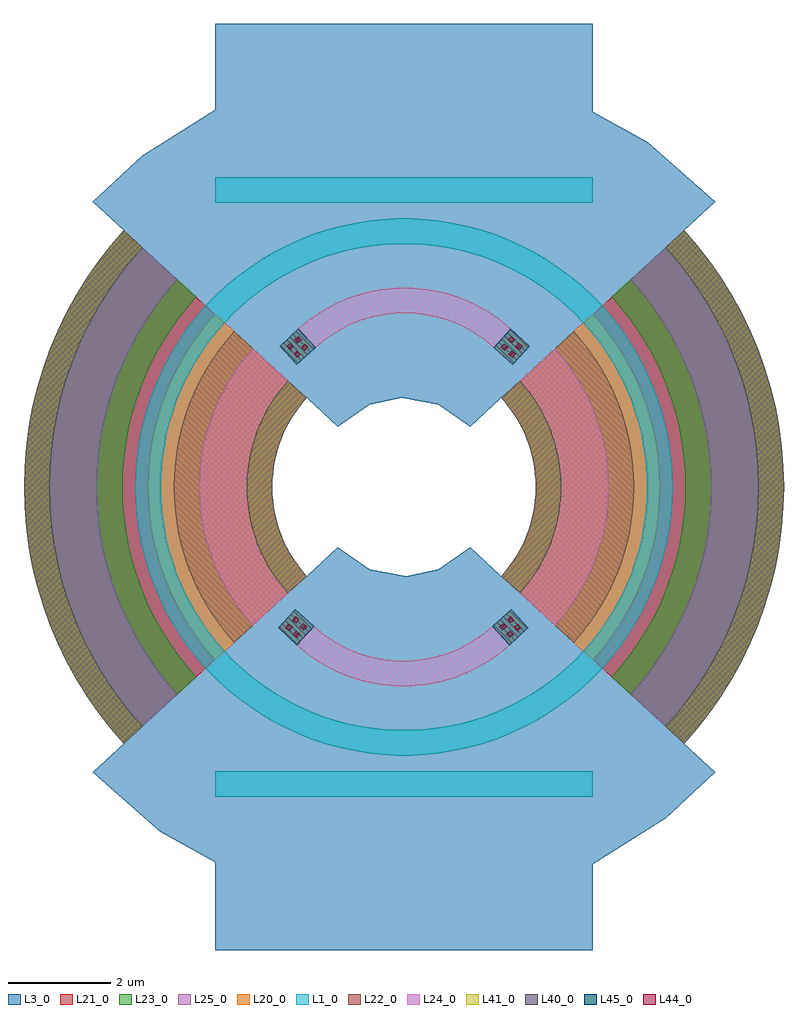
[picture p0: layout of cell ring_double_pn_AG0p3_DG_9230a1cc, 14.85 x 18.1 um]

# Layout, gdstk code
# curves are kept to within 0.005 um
import gdstk
lib = gdstk.Library(unit=1e-6, precision=1e-09)
def R(c, l, rs):  # rectangles x0, y0, x1, y1
    for r in rs: c.add(gdstk.rectangle(r[:2], r[2:], *l))
def P(c, l, *ps):  # polygons
    for p in ps: c.add(gdstk.Polygon(p, *l))
L1_0 = (1, 0)
L3_0 = (3, 0)
L20_0 = (20, 0)
L21_0 = (21, 0)
L22_0 = (22, 0)
L23_0 = (23, 0)
L24_0 = (24, 0)
L25_0 = (25, 0)
L40_0 = (40, 0)
L41_0 = (41, 0)
L44_0 = (44, 0)
L45_0 = (45, 0)

ring_double_pn_ag0p3_dg_ = lib.new_cell('ring_double_pn_AG0p3_DG_9230a1cc')
R(ring_double_pn_ag0p3_dg_, L1_0, [(-3.687,-6.05,3.686,-5.55), (-3.687,5.55,3.686,6.05)])
P(ring_double_pn_ag0p3_dg_, L1_0, [(-0.14,-5.248),(-0.421,-5.233),(-0.7,-5.203),(-0.977,-5.158),(-1.251,-5.099),(-1.522,-5.025),(-1.789,-4.936),(-2.05,-4.833),(-2.305,-4.717),(-2.554,-4.587),(-2.796,-4.444),(-3.029,-4.288),(-3.254,-4.12),(-3.47,-3.94),(-3.676,-3.749),(-3.871,-3.547),(-4.053,-3.337),(-4.224,-3.118),(-4.383,-2.89),(-4.53,-2.653),(-4.664,-2.41),(-4.785,-2.159),(-4.893,-1.903),(-4.987,-1.641),(-5.067,-1.375),(-5.133,-1.104),(-5.184,-0.831),(-5.221,-0.555),(-5.243,-0.278),(-5.25,0),(-5.243,0.278),(-5.221,0.555),(-5.184,0.831),(-5.133,1.104),(-5.067,1.375),(-4.987,1.641),(-4.893,1.903),(-4.785,2.159),(-4.664,2.41),(-4.53,2.653),(-4.383,2.89),(-4.224,3.118),(-4.053,3.337),(-3.871,3.547),(-3.676,3.749),(-3.47,3.94),(-3.254,4.12),(-3.029,4.288),(-2.796,4.444),(-2.554,4.587),(-2.237,4.748),(-0.127,4.748),(-0.381,4.735),(-0.633,4.708),(-0.884,4.667),(-1.132,4.613),(-1.377,4.546),(-1.618,4.466),(-1.855,4.373),(-2.086,4.267),(-2.311,4.15),(-2.53,4.02),(-2.741,3.879),(-2.944,3.727),(-3.139,3.565),(-3.325,3.392),(-3.502,3.209),(-3.667,3.019),(-3.822,2.821),(-3.966,2.614),(-4.099,2.401),(-4.22,2.18),(-4.33,1.954),(-4.427,1.722),(-4.512,1.485),(-4.584,1.244),(-4.644,0.999),(-4.69,0.752),(-4.723,0.502),(-4.743,0.252),(-4.75,0),(-4.743,-0.252),(-4.723,-0.502),(-4.69,-0.752),(-4.644,-0.999),(-4.584,-1.244),(-4.512,-1.485),(-4.427,-1.722),(-4.33,-1.954),(-4.22,-2.18),(-4.099,-2.401),(-3.966,-2.614),(-3.822,-2.821),(-3.667,-3.019),(-3.502,-3.209),(-3.325,-3.392),(-3.139,-3.565),(-2.944,-3.727),(-2.741,-3.879),(-2.53,-4.02),(-2.311,-4.15),(-2.086,-4.267),(-1.855,-4.373),(-1.618,-4.466),(-1.377,-4.546),(-1.132,-4.613),(-0.884,-4.667),(-0.633,-4.708),(-0.381,-4.735),(-0.127,-4.748),(0.127,-4.748),(0.381,-4.735),(0.633,-4.708),(0.884,-4.667),(1.132,-4.613),(1.377,-4.546),(1.618,-4.466),(1.855,-4.373),(2.086,-4.267),(2.311,-4.15),(2.53,-4.02),(2.741,-3.879),(2.944,-3.727),(3.139,-3.565),(3.325,-3.392),(3.502,-3.209),(3.667,-3.019),(3.822,-2.821),(3.966,-2.614),(4.099,-2.401),(4.22,-2.18),(4.33,-1.954),(4.427,-1.722),(4.512,-1.485),(4.584,-1.244),(4.644,-0.999),(4.69,-0.752),(4.723,-0.502),(4.743,-0.252),(4.75,0),(4.743,0.252),(4.723,0.502),(4.69,0.752),(4.644,0.999),(4.584,1.244),(4.512,1.485),(4.427,1.722),(4.33,1.954),(4.22,2.18),(4.099,2.401),(3.966,2.614),(3.822,2.821),(3.667,3.019),(3.502,3.209),(3.325,3.392),(3.139,3.565),(2.944,3.727),(2.741,3.879),(2.53,4.02),(2.311,4.15),(2.086,4.267),(1.855,4.373),(1.618,4.466),(1.377,4.546),(1.132,4.613),(0.884,4.667),(0.633,4.708),(0.381,4.735),(0.127,4.748),(-2.237,4.748),(-2.05,4.833),(-1.789,4.936),(-1.522,5.025),(-1.251,5.099),(-0.977,5.158),(-0.7,5.203),(-0.421,5.233),(-0.14,5.248),(0.14,5.248),(0.421,5.233),(0.7,5.203),(0.977,5.158),(1.251,5.099),(1.522,5.025),(1.789,4.936),(2.05,4.833),(2.305,4.717),(2.554,4.587),(2.796,4.444),(3.029,4.288),(3.254,4.12),(3.47,3.94),(3.676,3.749),(3.871,3.547),(4.053,3.337),(4.224,3.118),(4.383,2.89),(4.53,2.653),(4.664,2.41),(4.785,2.159),(4.893,1.903),(4.987,1.641),(5.067,1.375),(5.133,1.104),(5.184,0.831),(5.221,0.555),(5.243,0.278),(5.25,0),(5.243,-0.278),(5.221,-0.555),(5.184,-0.831),(5.133,-1.104),(5.067,-1.375),(4.987,-1.641),(4.893,-1.903),(4.785,-2.159),(4.664,-2.41),(4.53,-2.653),(4.383,-2.89),(4.224,-3.118),(4.053,-3.337),(3.871,-3.547),(3.676,-3.749),(3.47,-3.94),(3.254,-4.12),(3.029,-4.288),(2.796,-4.444),(2.554,-4.587),(2.305,-4.717),(2.05,-4.833),(1.789,-4.936),(1.522,-5.025),(1.251,-5.099),(0.977,-5.158),(0.7,-5.203),(0.421,-5.233),(0.14,-5.248)])
P(ring_double_pn_ag0p3_dg_, L3_0, [(-3.687,-9.05),(-3.687,-7.337),(-4.761,-6.739),(-6.083,-5.574),(-5.474,-5.016),(-5.733,-4.72),(-5.975,-4.41),(-6.2,-4.087),(-6.408,-3.753),(-6.597,-3.408),(-6.769,-3.054),(-6.921,-2.691),(-7.054,-2.321),(-7.167,-1.944),(-7.26,-1.562),(-7.332,-1.175),(-7.384,-0.785),(-7.415,-0.393),(-7.426,0),(-7.415,0.393),(-7.384,0.785),(-7.332,1.175),(-7.26,1.562),(-7.215,1.748),(-0.047,1.748),(-0.683,1.61),(-1.29,1.182),(-1.898,1.74),(-2.071,1.529),(-2.149,1.417),(-2.287,1.181),(-2.399,0.933),(-2.445,0.805),(-2.517,0.541),(-2.542,0.407),(-2.571,0.136),(-2.571,-0.136),(-2.56,-0.272),(-2.517,-0.541),(-2.484,-0.674),(-2.445,-0.805),(-2.346,-1.059),(-2.221,-1.301),(-2.149,-1.417),(-2.071,-1.529),(-1.898,-1.74),(-1.29,-1.182),(-0.683,-1.61),(0.047,-1.748),(0.683,-1.61),(1.29,-1.182),(1.898,-1.74),(2.071,-1.529),(2.221,-1.301),(2.346,-1.059),(2.445,-0.805),(2.517,-0.541),(2.542,-0.407),(2.571,-0.136),(2.571,0.136),(2.542,0.407),(2.517,0.541),(2.445,0.805),(2.346,1.059),(2.221,1.301),(2.149,1.417),(2.071,1.529),(1.898,1.74),(1.29,1.182),(0.683,1.61),(-0.047,1.748),(-7.215,1.748),(-7.167,1.944),(-7.054,2.321),(-6.921,2.691),(-6.769,3.054),(-6.597,3.408),(-6.408,3.753),(-6.2,4.087),(-5.975,4.41),(-5.733,4.72),(-5.474,5.016),(-6.083,5.574),(-5.115,6.475),(-3.687,7.373),(-3.687,9.05),(3.686,9.05),(3.686,7.338),(4.761,6.739),(6.083,5.574),(5.474,5.016),(5.733,4.72),(5.975,4.41),(6.2,4.087),(6.408,3.753),(6.597,3.408),(6.769,3.054),(6.921,2.691),(7.054,2.321),(7.167,1.944),(7.26,1.562),(7.332,1.175),(7.384,0.785),(7.415,0.393),(7.426,0),(7.415,-0.393),(7.384,-0.785),(7.332,-1.175),(7.26,-1.562),(7.167,-1.944),(7.054,-2.321),(6.921,-2.691),(6.769,-3.054),(6.597,-3.408),(6.408,-3.753),(6.2,-4.087),(5.975,-4.41),(5.733,-4.72),(5.474,-5.016),(6.083,-5.574),(5.115,-6.475),(3.686,-7.373),(3.686,-9.05)])
P(ring_double_pn_ag0p3_dg_, L20_0, [(-3.686,-3.378),(-3.86,-3.178),(-4.023,-2.969),(-4.175,-2.752),(-4.314,-2.527),(-4.442,-2.295),(-4.558,-2.056),(-4.66,-1.812),(-4.749,-1.563),(-4.826,-1.309),(-4.888,-1.052),(-4.937,-0.791),(-4.972,-0.529),(-4.993,-0.265),(-5,0),(-4.993,0.265),(-4.972,0.529),(-4.937,0.791),(-4.888,1.052),(-4.826,1.309),(-4.749,1.563),(-4.66,1.812),(-4.558,2.056),(-4.442,2.295),(-4.314,2.527),(-4.175,2.752),(-4.023,2.969),(-3.86,3.178),(-3.686,3.378),(-1.898,1.74),(-2.071,1.529),(-2.149,1.417),(-2.287,1.181),(-2.399,0.933),(-2.445,0.805),(-2.517,0.541),(-2.56,0.272),(-2.574,0),(-2.56,-0.272),(-2.517,-0.541),(-2.445,-0.805),(-2.399,-0.933),(-2.287,-1.181),(-2.149,-1.417),(-2.071,-1.529),(-1.898,-1.74)],
  [(3.686,-3.378),(1.898,-1.74),(2.071,-1.529),(2.149,-1.417),(2.287,-1.181),(2.399,-0.933),(2.445,-0.805),(2.517,-0.541),(2.56,-0.272),(2.574,0),(2.56,0.272),(2.517,0.541),(2.445,0.805),(2.399,0.933),(2.287,1.181),(2.149,1.417),(2.071,1.529),(1.898,1.74),(3.686,3.378),(3.86,3.178),(4.023,2.969),(4.175,2.752),(4.314,2.527),(4.442,2.295),(4.558,2.056),(4.66,1.812),(4.749,1.563),(4.826,1.309),(4.888,1.052),(4.937,0.791),(4.972,0.529),(4.993,0.265),(5,0),(4.993,-0.265),(4.972,-0.529),(4.937,-0.791),(4.888,-1.052),(4.826,-1.309),(4.749,-1.563),(4.66,-1.812),(4.558,-2.056),(4.442,-2.295),(4.314,-2.527),(4.175,-2.752),(4.023,-2.969),(3.86,-3.178)])
P(ring_double_pn_ag0p3_dg_, L21_0, [(-5.474,-5.016),(-5.733,-4.72),(-5.975,-4.41),(-6.2,-4.087),(-6.408,-3.753),(-6.597,-3.408),(-6.769,-3.054),(-6.921,-2.691),(-7.054,-2.321),(-7.167,-1.944),(-7.26,-1.562),(-7.332,-1.175),(-7.384,-0.785),(-7.415,-0.393),(-7.426,0),(-7.415,0.393),(-7.384,0.785),(-7.332,1.175),(-7.26,1.562),(-7.167,1.944),(-7.054,2.321),(-6.921,2.691),(-6.769,3.054),(-6.597,3.408),(-6.408,3.753),(-6.2,4.087),(-5.975,4.41),(-5.733,4.72),(-5.474,5.016),(-3.686,3.378),(-3.86,3.178),(-4.023,2.969),(-4.175,2.752),(-4.314,2.527),(-4.442,2.295),(-4.558,2.056),(-4.66,1.812),(-4.749,1.563),(-4.826,1.309),(-4.888,1.052),(-4.937,0.791),(-4.972,0.529),(-4.993,0.265),(-5,0),(-4.993,-0.265),(-4.972,-0.529),(-4.937,-0.791),(-4.888,-1.052),(-4.826,-1.309),(-4.749,-1.563),(-4.66,-1.812),(-4.558,-2.056),(-4.442,-2.295),(-4.314,-2.527),(-4.175,-2.752),(-4.023,-2.969),(-3.86,-3.178),(-3.686,-3.378)],
  [(5.474,-5.016),(3.686,-3.378),(3.86,-3.178),(4.023,-2.969),(4.175,-2.752),(4.314,-2.527),(4.442,-2.295),(4.558,-2.056),(4.66,-1.812),(4.749,-1.563),(4.826,-1.309),(4.888,-1.052),(4.937,-0.791),(4.972,-0.529),(4.993,-0.265),(5,0),(4.993,0.265),(4.972,0.529),(4.937,0.791),(4.888,1.052),(4.826,1.309),(4.749,1.563),(4.66,1.812),(4.558,2.056),(4.442,2.295),(4.314,2.527),(4.175,2.752),(4.023,2.969),(3.86,3.178),(3.686,3.378),(5.474,5.016),(5.733,4.72),(5.975,4.41),(6.2,4.087),(6.408,3.753),(6.597,3.408),(6.769,3.054),(6.921,2.691),(7.054,2.321),(7.167,1.944),(7.26,1.562),(7.332,1.175),(7.384,0.785),(7.415,0.393),(7.426,0),(7.415,-0.393),(7.384,-0.785),(7.332,-1.175),(7.26,-1.562),(7.167,-1.944),(7.054,-2.321),(6.921,-2.691),(6.769,-3.054),(6.597,-3.408),(6.408,-3.753),(6.2,-4.087),(5.975,-4.41),(5.733,-4.72)])
P(ring_double_pn_ag0p3_dg_, L22_0, [(-3.318,-3.04),(-3.474,-2.86),(-3.621,-2.672),(-3.757,-2.477),(-3.883,-2.274),(-3.998,-2.065),(-4.102,-1.851),(-4.194,-1.631),(-4.274,-1.407),(-4.343,-1.178),(-4.399,-0.947),(-4.443,-0.712),(-4.475,-0.476),(-4.494,-0.238),(-4.5,0),(-4.494,0.238),(-4.475,0.476),(-4.443,0.712),(-4.399,0.947),(-4.343,1.178),(-4.274,1.407),(-4.194,1.631),(-4.102,1.851),(-3.998,2.065),(-3.883,2.274),(-3.757,2.477),(-3.621,2.672),(-3.474,2.86),(-3.318,3.04),(-1.898,1.74),(-2.071,1.529),(-2.149,1.417),(-2.287,1.181),(-2.399,0.933),(-2.445,0.805),(-2.517,0.541),(-2.56,0.272),(-2.574,0),(-2.56,-0.272),(-2.517,-0.541),(-2.445,-0.805),(-2.399,-0.933),(-2.287,-1.181),(-2.149,-1.417),(-2.071,-1.529),(-1.898,-1.74)],
  [(3.318,-3.04),(1.898,-1.74),(2.071,-1.529),(2.149,-1.417),(2.287,-1.181),(2.399,-0.933),(2.445,-0.805),(2.517,-0.541),(2.56,-0.272),(2.574,0),(2.56,0.272),(2.517,0.541),(2.445,0.805),(2.399,0.933),(2.287,1.181),(2.149,1.417),(2.071,1.529),(1.898,1.74),(3.318,3.04),(3.474,2.86),(3.621,2.672),(3.757,2.477),(3.883,2.274),(3.998,2.065),(4.102,1.851),(4.194,1.631),(4.274,1.407),(4.343,1.178),(4.399,0.947),(4.443,0.712),(4.475,0.476),(4.494,0.238),(4.5,0),(4.494,-0.238),(4.475,-0.476),(4.443,-0.712),(4.399,-0.947),(4.343,-1.178),(4.274,-1.407),(4.194,-1.631),(4.102,-1.851),(3.998,-2.065),(3.883,-2.274),(3.757,-2.477),(3.621,-2.672),(3.474,-2.86)])
P(ring_double_pn_ag0p3_dg_, L23_0, [(-5.474,-5.016),(-5.733,-4.72),(-5.975,-4.41),(-6.2,-4.087),(-6.408,-3.753),(-6.597,-3.408),(-6.769,-3.054),(-6.921,-2.691),(-7.054,-2.321),(-7.167,-1.944),(-7.26,-1.562),(-7.332,-1.175),(-7.384,-0.785),(-7.415,-0.393),(-7.426,0),(-7.415,0.393),(-7.384,0.785),(-7.332,1.175),(-7.26,1.562),(-7.167,1.944),(-7.054,2.321),(-6.921,2.691),(-6.769,3.054),(-6.597,3.408),(-6.408,3.753),(-6.2,4.087),(-5.975,4.41),(-5.733,4.72),(-5.474,5.016),(-4.055,3.716),(-4.246,3.496),(-4.425,3.266),(-4.592,3.027),(-4.746,2.78),(-4.887,2.524),(-5.013,2.262),(-5.126,1.993),(-5.225,1.719),(-5.308,1.44),(-5.377,1.157),(-5.431,0.871),(-5.469,0.582),(-5.492,0.291),(-5.5,0),(-5.492,-0.291),(-5.469,-0.582),(-5.431,-0.871),(-5.377,-1.157),(-5.308,-1.44),(-5.225,-1.719),(-5.126,-1.993),(-5.013,-2.262),(-4.887,-2.524),(-4.746,-2.78),(-4.592,-3.027),(-4.425,-3.266),(-4.246,-3.496),(-4.055,-3.716)],
  [(5.474,-5.016),(4.055,-3.716),(4.246,-3.496),(4.425,-3.266),(4.592,-3.027),(4.746,-2.78),(4.887,-2.524),(5.013,-2.262),(5.126,-1.993),(5.225,-1.719),(5.308,-1.44),(5.377,-1.157),(5.431,-0.871),(5.469,-0.582),(5.492,-0.291),(5.5,0),(5.492,0.291),(5.469,0.582),(5.431,0.871),(5.377,1.157),(5.308,1.44),(5.225,1.719),(5.126,1.993),(5.013,2.262),(4.887,2.524),(4.746,2.78),(4.592,3.027),(4.425,3.266),(4.246,3.496),(4.055,3.716),(5.474,5.016),(5.733,4.72),(5.975,4.41),(6.2,4.087),(6.408,3.753),(6.597,3.408),(6.769,3.054),(6.921,2.691),(7.054,2.321),(7.167,1.944),(7.26,1.562),(7.332,1.175),(7.384,0.785),(7.415,0.393),(7.426,0),(7.415,-0.393),(7.384,-0.785),(7.332,-1.175),(7.26,-1.562),(7.167,-1.944),(7.054,-2.321),(6.921,-2.691),(6.769,-3.054),(6.597,-3.408),(6.408,-3.753),(6.2,-4.087),(5.975,-4.41),(5.733,-4.72)])
P(ring_double_pn_ag0p3_dg_, L24_0, [(-0.166,-3.896),(-0.469,-3.866),(-0.767,-3.806),(-1.058,-3.717),(-1.339,-3.6),(-1.606,-3.455),(-1.858,-3.286),(-2.092,-3.091),(-1.754,-2.723),(-1.558,-2.885),(-1.347,-3.027),(-1.123,-3.148),(-0.888,-3.246),(-0.644,-3.32),(-0.395,-3.371),(-0.142,-3.395),(0.113,-3.396),(0.366,-3.37),(0.615,-3.321),(0.859,-3.246),(1.094,-3.148),(1.318,-3.027),(1.529,-2.885),(1.725,-2.722),(2.063,-3.091),(1.829,-3.285),(1.577,-3.456),(1.309,-3.6),(1.029,-3.717),(0.738,-3.806),(0.44,-3.865),(0.137,-3.896)],
  [(-2.949,-2.702),(-3.088,-2.542),(-3.218,-2.375),(-3.339,-2.201),(-3.451,-2.021),(-3.553,-1.836),(-3.646,-1.645),(-3.728,-1.45),(-3.799,-1.25),(-3.86,-1.047),(-3.91,-0.841),(-3.949,-0.633),(-3.977,-0.423),(-3.994,-0.212),(-4,0),(-3.994,0.212),(-3.977,0.423),(-3.949,0.633),(-3.91,0.841),(-3.86,1.047),(-3.799,1.25),(-3.728,1.45),(-3.646,1.645),(-3.553,1.836),(-3.451,2.021),(-3.339,2.201),(-3.218,2.375),(-3.088,2.542),(-2.949,2.702),(-1.898,1.74),(-2.071,1.529),(-2.149,1.417),(-2.287,1.181),(-2.399,0.933),(-2.445,0.805),(-2.517,0.541),(-2.56,0.272),(-2.574,0),(-2.56,-0.272),(-2.517,-0.541),(-2.445,-0.805),(-2.399,-0.933),(-2.287,-1.181),(-2.149,-1.417),(-2.071,-1.529),(-1.898,-1.74)],
  [(2.949,-2.702),(1.898,-1.74),(2.071,-1.529),(2.149,-1.417),(2.287,-1.181),(2.399,-0.933),(2.445,-0.805),(2.517,-0.541),(2.56,-0.272),(2.574,0),(2.56,0.272),(2.517,0.541),(2.445,0.805),(2.399,0.933),(2.287,1.181),(2.149,1.417),(2.071,1.529),(1.898,1.74),(2.949,2.702),(3.088,2.542),(3.218,2.375),(3.339,2.201),(3.451,2.021),(3.553,1.836),(3.646,1.645),(3.728,1.45),(3.799,1.25),(3.86,1.047),(3.91,0.841),(3.949,0.633),(3.977,0.423),(3.994,0.212),(4,0),(3.994,-0.212),(3.977,-0.423),(3.949,-0.633),(3.91,-0.841),(3.86,-1.047),(3.799,-1.25),(3.728,-1.45),(3.646,-1.645),(3.553,-1.836),(3.451,-2.021),(3.339,-2.201),(3.218,-2.375),(3.088,-2.542)],
  [(-1.726,2.722),(-2.064,3.091),(-1.83,3.285),(-1.578,3.456),(-1.31,3.6),(-1.03,3.717),(-0.739,3.806),(-0.441,3.865),(-0.138,3.896),(0.165,3.896),(0.468,3.866),(0.766,3.806),(1.057,3.717),(1.338,3.6),(1.605,3.455),(1.857,3.286),(2.091,3.091),(1.753,2.723),(1.557,2.885),(1.346,3.027),(1.122,3.148),(0.887,3.246),(0.643,3.32),(0.394,3.371),(0.141,3.395),(-0.114,3.396),(-0.367,3.37),(-0.616,3.321),(-0.86,3.246),(-1.095,3.148),(-1.319,3.027),(-1.53,2.885)])
P(ring_double_pn_ag0p3_dg_, L25_0, [(-5.474,-5.016),(-5.733,-4.72),(-5.975,-4.41),(-6.2,-4.087),(-6.408,-3.753),(-6.597,-3.408),(-6.769,-3.054),(-6.921,-2.691),(-7.054,-2.321),(-7.167,-1.944),(-7.26,-1.562),(-7.332,-1.175),(-7.384,-0.785),(-7.415,-0.393),(-7.426,0),(-7.415,0.393),(-7.384,0.785),(-7.332,1.175),(-7.26,1.562),(-7.167,1.944),(-7.054,2.321),(-6.921,2.691),(-6.769,3.054),(-6.597,3.408),(-6.408,3.753),(-6.2,4.087),(-5.975,4.41),(-5.733,4.72),(-5.474,5.016),(-4.424,4.054),(-4.632,3.814),(-4.828,3.563),(-5.01,3.302),(-5.178,3.033),(-5.331,2.754),(-5.469,2.468),(-5.592,2.175),(-5.7,1.876),(-5.791,1.571),(-5.866,1.262),(-5.925,0.95),(-5.967,0.635),(-5.992,0.318),(-6,0),(-5.992,-0.318),(-5.967,-0.635),(-5.925,-0.95),(-5.866,-1.262),(-5.791,-1.571),(-5.7,-1.876),(-5.592,-2.175),(-5.469,-2.468),(-5.331,-2.754),(-5.178,-3.033),(-5.01,-3.302),(-4.828,-3.563),(-4.632,-3.814),(-4.424,-4.054)],
  [(5.474,-5.016),(4.424,-4.054),(4.632,-3.814),(4.828,-3.563),(5.01,-3.302),(5.178,-3.033),(5.331,-2.754),(5.469,-2.468),(5.592,-2.175),(5.7,-1.876),(5.791,-1.571),(5.866,-1.262),(5.925,-0.95),(5.967,-0.635),(5.992,-0.318),(6,0),(5.992,0.318),(5.967,0.635),(5.925,0.95),(5.866,1.262),(5.791,1.571),(5.7,1.876),(5.592,2.175),(5.469,2.468),(5.331,2.754),(5.178,3.033),(5.01,3.302),(4.828,3.563),(4.632,3.814),(4.424,4.054),(5.474,5.016),(5.733,4.72),(5.975,4.41),(6.2,4.087),(6.408,3.753),(6.597,3.408),(6.769,3.054),(6.921,2.691),(7.054,2.321),(7.167,1.944),(7.26,1.562),(7.332,1.175),(7.384,0.785),(7.415,0.393),(7.426,0),(7.415,-0.393),(7.384,-0.785),(7.332,-1.175),(7.26,-1.562),(7.167,-1.944),(7.054,-2.321),(6.921,-2.691),(6.769,-3.054),(6.597,-3.408),(6.408,-3.753),(6.2,-4.087),(5.975,-4.41),(5.733,-4.72)])
P(ring_double_pn_ag0p3_dg_, L40_0, [(-2.098,-2.95),(-2.171,-2.882),(-2.104,-2.809),(-2.03,-2.876)],
  [(2.069,-2.95),(2.001,-2.876),(2.075,-2.809),(2.142,-2.882)],
  [(-2.245,-2.815),(-2.319,-2.747),(-2.251,-2.674),(-2.178,-2.741)],
  [(2.216,-2.815),(2.149,-2.741),(2.222,-2.674),(2.29,-2.747)],
  [(-1.963,-2.802),(-2.036,-2.735),(-1.969,-2.661),(-1.895,-2.729)],
  [(1.934,-2.802),(1.866,-2.729),(1.94,-2.661),(2.007,-2.735)],
  [(-2.11,-2.667),(-2.184,-2.6),(-2.116,-2.526),(-2.043,-2.594)],
  [(2.081,-2.667),(2.014,-2.594),(2.087,-2.526),(2.155,-2.6)],
  [(-2.267,-2.077),(-2.474,-1.826),(-2.653,-1.554),(-2.802,-1.264),(-2.865,-1.114),(-2.92,-0.961),(-3.006,-0.647),(-3.057,-0.325),(-3.074,0),(-3.057,0.325),(-3.006,0.647),(-2.92,0.961),(-2.865,1.114),(-2.802,1.264),(-2.653,1.554),(-2.474,1.826),(-2.267,2.077),(-1.898,1.74),(-2.071,1.529),(-2.149,1.417),(-2.221,1.301),(-2.346,1.059),(-2.445,0.805),(-2.484,0.674),(-2.517,0.541),(-2.56,0.272),(-2.574,0),(-2.56,-0.272),(-2.517,-0.541),(-2.445,-0.805),(-2.346,-1.059),(-2.221,-1.301),(-2.071,-1.529),(-1.898,-1.74)],
  [(2.267,-2.077),(1.898,-1.74),(2.071,-1.529),(2.149,-1.417),(2.221,-1.301),(2.346,-1.059),(2.445,-0.805),(2.484,-0.674),(2.517,-0.541),(2.56,-0.272),(2.574,0),(2.56,0.272),(2.517,0.541),(2.445,0.805),(2.346,1.059),(2.221,1.301),(2.071,1.529),(1.898,1.74),(2.267,2.077),(2.474,1.826),(2.653,1.554),(2.802,1.264),(2.865,1.114),(2.92,0.961),(3.006,0.647),(3.057,0.325),(3.074,0),(3.057,-0.325),(3.006,-0.647),(2.92,-0.961),(2.865,-1.114),(2.802,-1.264),(2.653,-1.554),(2.474,-1.826)],
  [(-2.088,2.526),(-2.156,2.6),(-2.082,2.667),(-2.015,2.594)],
  [(2.115,2.526),(2.042,2.594),(2.109,2.667),(2.183,2.6)],
  [(-1.941,2.661),(-2.008,2.735),(-1.935,2.802),(-1.867,2.729)],
  [(1.968,2.661),(1.894,2.729),(1.962,2.802),(2.035,2.735)],
  [(-2.223,2.674),(-2.291,2.747),(-2.217,2.815),(-2.15,2.741)],
  [(2.25,2.674),(2.177,2.741),(2.244,2.815),(2.318,2.747)],
  [(-2.076,2.809),(-2.143,2.882),(-2.07,2.95),(-2.002,2.876)],
  [(2.103,2.809),(2.029,2.876),(2.097,2.95),(2.17,2.882)],
  [(-5.474,-5.016),(-5.733,-4.72),(-5.975,-4.41),(-6.2,-4.087),(-6.408,-3.753),(-6.597,-3.408),(-6.769,-3.054),(-6.921,-2.691),(-7.054,-2.321),(-7.167,-1.944),(-7.26,-1.562),(-7.332,-1.175),(-7.384,-0.785),(-7.415,-0.393),(-7.426,0),(-7.415,0.393),(-7.384,0.785),(-7.332,1.175),(-7.26,1.562),(-7.167,1.944),(-7.054,2.321),(-6.921,2.691),(-6.769,3.054),(-6.597,3.408),(-6.408,3.753),(-6.2,4.087),(-5.975,4.41),(-5.733,4.72),(-5.474,5.016),(-5.106,4.678),(-5.347,4.402),(-5.572,4.113),(-5.782,3.812),(-5.976,3.5),(-6.153,3.179),(-6.313,2.848),(-6.455,2.51),(-6.579,2.165),(-6.684,1.813),(-6.771,1.457),(-6.838,1.096),(-6.887,0.733),(-6.916,0.367),(-6.926,0),(-6.916,-0.367),(-6.887,-0.733),(-6.838,-1.096),(-6.771,-1.457),(-6.684,-1.813),(-6.579,-2.165),(-6.455,-2.51),(-6.313,-2.848),(-6.153,-3.179),(-5.976,-3.5),(-5.782,-3.812),(-5.572,-4.113),(-5.347,-4.402),(-5.106,-4.678)],
  [(5.474,-5.016),(5.106,-4.678),(5.347,-4.402),(5.572,-4.113),(5.782,-3.812),(5.976,-3.5),(6.153,-3.179),(6.313,-2.848),(6.455,-2.51),(6.579,-2.165),(6.684,-1.813),(6.771,-1.457),(6.838,-1.096),(6.887,-0.733),(6.916,-0.367),(6.926,0),(6.916,0.367),(6.887,0.733),(6.838,1.096),(6.771,1.457),(6.684,1.813),(6.579,2.165),(6.455,2.51),(6.313,2.848),(6.153,3.179),(5.976,3.5),(5.782,3.812),(5.572,4.113),(5.347,4.402),(5.106,4.678),(5.474,5.016),(5.733,4.72),(5.975,4.41),(6.2,4.087),(6.408,3.753),(6.597,3.408),(6.769,3.054),(6.921,2.691),(7.054,2.321),(7.167,1.944),(7.26,1.562),(7.332,1.175),(7.384,0.785),(7.415,0.393),(7.426,0),(7.415,-0.393),(7.384,-0.785),(7.332,-1.175),(7.26,-1.562),(7.167,-1.944),(7.054,-2.321),(6.921,-2.691),(6.769,-3.054),(6.597,-3.408),(6.408,-3.753),(6.2,-4.087),(5.975,-4.41),(5.733,-4.72)])
P(ring_double_pn_ag0p3_dg_, L41_0, [(-2.092,-3.091),(-2.46,-2.753),(-2.122,-2.385),(-1.754,-2.723)],
  [(2.063,-3.091),(1.725,-2.723),(2.093,-2.385),(2.431,-2.753)],
  [(-2.267,-2.077),(-2.474,-1.826),(-2.653,-1.554),(-2.802,-1.264),(-2.865,-1.114),(-2.92,-0.961),(-3.006,-0.647),(-3.057,-0.325),(-3.074,0),(-3.057,0.325),(-3.006,0.647),(-2.92,0.961),(-2.865,1.114),(-2.802,1.264),(-2.653,1.554),(-2.474,1.826),(-2.267,2.077),(-1.898,1.74),(-2.071,1.529),(-2.149,1.417),(-2.221,1.301),(-2.346,1.059),(-2.445,0.805),(-2.484,0.674),(-2.517,0.541),(-2.56,0.272),(-2.574,0),(-2.56,-0.272),(-2.517,-0.541),(-2.445,-0.805),(-2.346,-1.059),(-2.221,-1.301),(-2.071,-1.529),(-1.898,-1.74)],
  [(2.267,-2.077),(1.898,-1.74),(2.071,-1.529),(2.149,-1.417),(2.221,-1.301),(2.346,-1.059),(2.445,-0.805),(2.484,-0.674),(2.517,-0.541),(2.56,-0.272),(2.574,0),(2.56,0.272),(2.517,0.541),(2.445,0.805),(2.346,1.059),(2.221,1.301),(2.071,1.529),(1.898,1.74),(2.267,2.077),(2.474,1.826),(2.653,1.554),(2.802,1.264),(2.865,1.114),(2.92,0.961),(3.006,0.647),(3.057,0.325),(3.074,0),(3.057,-0.325),(3.006,-0.647),(2.92,-0.961),(2.865,-1.114),(2.802,-1.264),(2.653,-1.554),(2.474,-1.826)],
  [(-2.094,2.385),(-2.432,2.753),(-2.064,3.091),(-1.726,2.723)],
  [(2.121,2.385),(1.753,2.723),(2.091,3.091),(2.459,2.753)],
  [(-5.474,-5.016),(-5.733,-4.72),(-5.975,-4.41),(-6.2,-4.087),(-6.408,-3.753),(-6.597,-3.408),(-6.769,-3.054),(-6.921,-2.691),(-7.054,-2.321),(-7.167,-1.944),(-7.26,-1.562),(-7.332,-1.175),(-7.384,-0.785),(-7.415,-0.393),(-7.426,0),(-7.415,0.393),(-7.384,0.785),(-7.332,1.175),(-7.26,1.562),(-7.167,1.944),(-7.054,2.321),(-6.921,2.691),(-6.769,3.054),(-6.597,3.408),(-6.408,3.753),(-6.2,4.087),(-5.975,4.41),(-5.733,4.72),(-5.474,5.016),(-5.106,4.678),(-5.347,4.402),(-5.572,4.113),(-5.782,3.812),(-5.976,3.5),(-6.153,3.179),(-6.313,2.848),(-6.455,2.51),(-6.579,2.165),(-6.684,1.813),(-6.771,1.457),(-6.838,1.096),(-6.887,0.733),(-6.916,0.367),(-6.926,0),(-6.916,-0.367),(-6.887,-0.733),(-6.838,-1.096),(-6.771,-1.457),(-6.684,-1.813),(-6.579,-2.165),(-6.455,-2.51),(-6.313,-2.848),(-6.153,-3.179),(-5.976,-3.5),(-5.782,-3.812),(-5.572,-4.113),(-5.347,-4.402),(-5.106,-4.678)],
  [(5.474,-5.016),(5.106,-4.678),(5.347,-4.402),(5.572,-4.113),(5.782,-3.812),(5.976,-3.5),(6.153,-3.179),(6.313,-2.848),(6.455,-2.51),(6.579,-2.165),(6.684,-1.813),(6.771,-1.457),(6.838,-1.096),(6.887,-0.733),(6.916,-0.367),(6.926,0),(6.916,0.367),(6.887,0.733),(6.838,1.096),(6.771,1.457),(6.684,1.813),(6.579,2.165),(6.455,2.51),(6.313,2.848),(6.153,3.179),(5.976,3.5),(5.782,3.812),(5.572,4.113),(5.347,4.402),(5.106,4.678),(5.474,5.016),(5.733,4.72),(5.975,4.41),(6.2,4.087),(6.408,3.753),(6.597,3.408),(6.769,3.054),(6.921,2.691),(7.054,2.321),(7.167,1.944),(7.26,1.562),(7.332,1.175),(7.384,0.785),(7.415,0.393),(7.426,0),(7.415,-0.393),(7.384,-0.785),(7.332,-1.175),(7.26,-1.562),(7.167,-1.944),(7.054,-2.321),(6.921,-2.691),(6.769,-3.054),(6.597,-3.408),(6.408,-3.753),(6.2,-4.087),(5.975,-4.41),(5.733,-4.72)])
P(ring_double_pn_ag0p3_dg_, L44_0, [(-2.098,-2.95),(-2.171,-2.882),(-2.104,-2.809),(-2.03,-2.876)],
  [(2.069,-2.95),(2.001,-2.876),(2.075,-2.809),(2.142,-2.882)],
  [(-2.245,-2.815),(-2.319,-2.747),(-2.251,-2.674),(-2.178,-2.741)],
  [(2.216,-2.815),(2.149,-2.741),(2.222,-2.674),(2.29,-2.747)],
  [(-1.963,-2.802),(-2.036,-2.735),(-1.969,-2.661),(-1.895,-2.729)],
  [(1.934,-2.802),(1.866,-2.729),(1.94,-2.661),(2.007,-2.735)],
  [(-2.11,-2.667),(-2.184,-2.6),(-2.116,-2.526),(-2.043,-2.594)],
  [(2.081,-2.667),(2.014,-2.594),(2.087,-2.526),(2.155,-2.6)],
  [(-2.088,2.526),(-2.156,2.6),(-2.082,2.667),(-2.015,2.594)],
  [(2.115,2.526),(2.042,2.594),(2.109,2.667),(2.183,2.6)],
  [(-1.941,2.661),(-2.008,2.735),(-1.935,2.802),(-1.867,2.729)],
  [(1.968,2.661),(1.894,2.729),(1.962,2.802),(2.035,2.735)],
  [(-2.223,2.674),(-2.291,2.747),(-2.217,2.815),(-2.15,2.741)],
  [(2.25,2.674),(2.177,2.741),(2.244,2.815),(2.318,2.747)],
  [(-2.076,2.809),(-2.143,2.882),(-2.07,2.95),(-2.002,2.876)],
  [(2.103,2.809),(2.029,2.876),(2.097,2.95),(2.17,2.882)])
P(ring_double_pn_ag0p3_dg_, L45_0, [(-2.092,-3.091),(-2.46,-2.753),(-2.122,-2.385),(-1.754,-2.723)],
  [(2.063,-3.091),(1.725,-2.723),(2.093,-2.385),(2.431,-2.753)],
  [(-2.094,2.385),(-2.432,2.753),(-2.064,3.091),(-1.726,2.723)],
  [(2.121,2.385),(1.753,2.723),(2.091,3.091),(2.459,2.753)])

lib.write_gds('ring_double_pn_AG0p3_DG_9230a1cc.gds')
